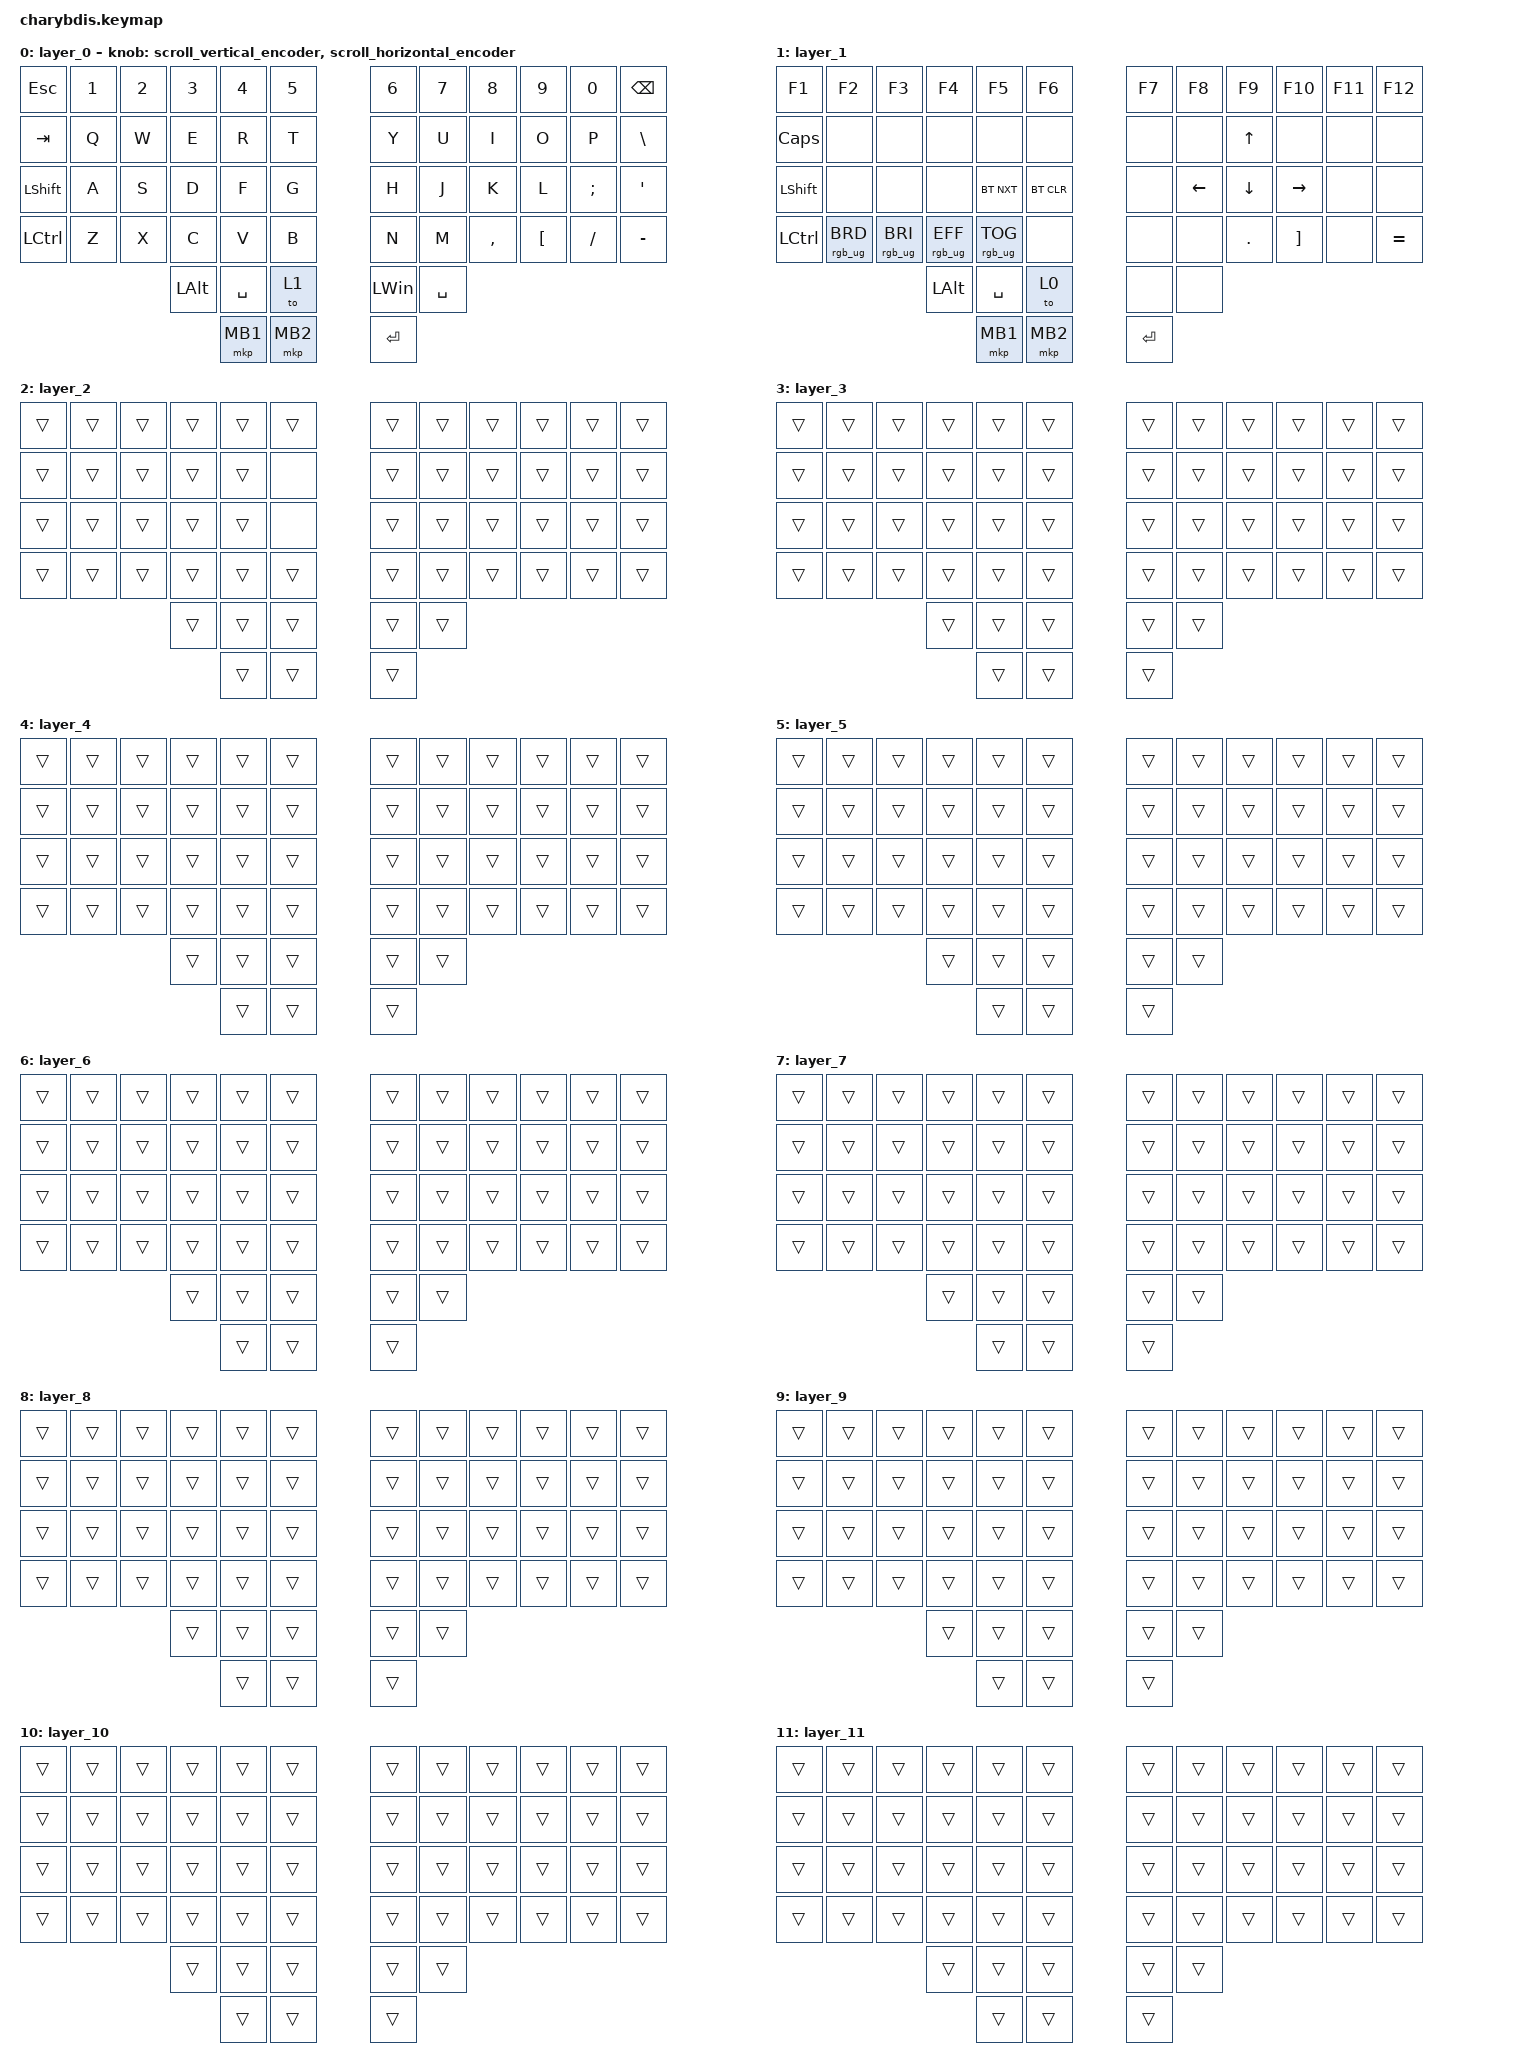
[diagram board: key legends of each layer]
#include <dt-bindings/zmk/mouse.h>
#include <input/processors.dtsi>
#include <zephyr/dt-bindings/input/input-event-codes.h>
#include <behaviors.dtsi>
#include <dt-bindings/zmk/bt.h>
#include <dt-bindings/zmk/keys.h>
#include <dt-bindings/zmk/pointing.h>
#include <dt-bindings/zmk/rgb.h>

#define ZMK_POINTING_DEFAULT_MOVE_VAL 1000 // 600
#define ZMK_POINTING_DEFAULT_SCRL_VAL 12   // 10

&lt {
    tapping-term-ms = <200>;
    flavor = "balanced";
    quick-tap-ms = <150>;
};

/ {
    // Whole-vector jump-curve acceleration (config/modules/input_processor_jump_accel).
    // Wired onto &trackball_listener below -- the REAL PMW3610 hardware listener --
    // not &mmv_input_listener (that's the virtual "hold a key to move the mouse"
    // behavior's listener, and &mmv isn't bound to any key in this keymap, so
    // anything attached there is inert dead code for actual trackball movement).
    // Runs on raw 400-CPI sensor deltas, so speed thresholds are in raw counts/sec.
    // base-factor 1000 = 1.0x (slow feel unchanged, stays at the raw 400 CPI baseline).
    // fast-factor 3000 = 3.0x, so a fast flick reaches ~1200 raw-equivalent CPI.
    // First real tuning pass on the correct listener -- expect a noticeable jump on
    // brisk movement; adjust jump-start-cps/jump-width-cps by feel from here.
    jump_accel: jump_accel {
        compatible = "zmk,input-processor-jump-accel";
        #input-processor-cells = <0>;
        base-factor = <1000>;
        fast-factor = <3000>;
        jump-start-cps = <1800>;
        jump-width-cps = <1200>;
        track-remainders;
    };

    // Scroll has its own smooth speed curve. Keep slow motion responsive at
    // 0.5x, then ramp to 4x on faster sweeps. The layer-specific scroller has
    // its own chain and applies the same curve before mapping motion to wheel events.
    scroll_accel: scroll_accel {
        compatible = "zmk,input-processor-jump-accel";
        #input-processor-cells = <0>;
        base-factor = <500>;
        fast-factor = <4000>;
        jump-start-cps = <500>;
        jump-width-cps = <1750>;
        track-remainders;
    };
};

// Pointer speed modes are KEY behaviors, never layer-linked CPI switching.
// The old PMW3610 snipe-layers mechanism (8x CPI jump while a layer was held)
// was removed together with the inorichi/DoctorWangWang driver.
//
// All modes run through zip_ball_mode (gggw zmk-input-processor-pipeline-
// switch), wired onto &trackball_listener in charybdis_right.overlay (which
// exists on the right/central half only, so these keys only have an effect
// when placed on right-half positions). The macros below select a pipeline
// deterministically; the hold variants press a mode and restore cursor on
// release (same macro pattern as the coach layer holds). persist=0 for the
// hold transitions (no flash writes), persist=1 for the explicit set keys.
// Behavior node names must stay <= 8 chars (split relay truncation).
//
// These behaviors are intentionally NOT bound to any key in this keymap.
// They exist so ZMK Studio can assign them; the optimizer owns placement.

/ {
    zip_ball_mode: zip_ball_mode {
        compatible = "zmk,input-processor-pipeline-switch";
        #input-processor-cells = <0>;
        persistent;

        cursor { // index 0: identity
            input-processors = <&zip_xy_scaler 1 1>;
        };
        snipe { // index 1: 0.25x precision
            input-processors = <&zip_xy_scaler 1 4>;
        };
        fast { // index 2: 3x boost
            input-processors = <&zip_xy_scaler 3 1>;
        };
    };

    bmode: bmode {
        compatible = "zmk,behavior-pipeline-switch";
        #binding-cells = <2>;
        processor = <&zip_ball_mode>;
        display-name = "Ball Mode";
    };

    snp_hold: snp_hold {
        compatible = "zmk,behavior-macro";
        display-name = "Snipe Hold";
        #binding-cells = <0>;
        wait-ms = <5>;
        tap-ms = <5>;
        bindings =
            <&macro_press &bmode 1 0>,
            <&macro_pause_for_release>,
            <&macro_tap &bmode 0 0>;
    };

    fst_hold: fst_hold {
        compatible = "zmk,behavior-macro";
        display-name = "Fast Hold";
        #binding-cells = <0>;
        wait-ms = <5>;
        tap-ms = <5>;
        bindings =
            <&macro_press &bmode 2 0>,
            <&macro_pause_for_release>,
            <&macro_tap &bmode 0 0>;
    };

    snp_tog: snp_tog {
        compatible = "zmk,behavior-macro";
        display-name = "Snipe Mode";
        #binding-cells = <0>;
        wait-ms = <5>;
        tap-ms = <5>;
        bindings = <&macro_tap &bmode 1 1>;
    };

    nrm_tog: nrm_tog {
        compatible = "zmk,behavior-macro";
        display-name = "Normal Mode";
        #binding-cells = <0>;
        wait-ms = <5>;
        tap-ms = <5>;
        bindings = <&macro_tap &bmode 0 1>;
    };

    fst_tog: fst_tog {
        compatible = "zmk,behavior-macro";
        display-name = "Fast Mode";
        #binding-cells = <0>;
        wait-ms = <5>;
        tap-ms = <5>;
        bindings = <&macro_tap &bmode 2 1>;
    };
};

// zip_xy_scaler here only affects the (currently unused) &mmv "move mouse via
// key hold" virtual behavior below -- unrelated to the physical trackball.
&mmv_input_listener { input-processors = <&zip_xy_scaler 1 5>; };

&msc_input_listener { input-processors = <&zip_scroll_scaler 2 1>; };

&msc {
    acceleration-exponent = <0>;      // 0
    time-to-max-speed-ms = <100>;       // 300
    delay-ms = <0>;                   // 0
};

&mmv {
    time-to-max-speed-ms = <500>;
    acceleration-exponent = <1>;
    trigger-period-ms = <16>;
};

/ {
    #include "coach_beacon_macros.keymap.dtsi"

    // 上下滚动编码器行为

    scroll_vertical_encoder: scroll_vertical_encoder {
        compatible = "zmk,behavior-sensor-rotate";
        #sensor-binding-cells = <0>;
        bindings = <&msc SCRL_DOWN>, <&msc SCRL_UP>;

        tap-ms = <100>;
    };

    // 左右滚动编码器行为

    scroll_horizontal_encoder: scroll_horizontal_encoder {
        compatible = "zmk,behavior-sensor-rotate";
        #sensor-binding-cells = <0>;
        bindings = <&msc SCRL_LEFT>, <&msc SCRL_RIGHT>;

        tap-ms = <100>;
    };

    behaviors {
    };

    macros {
        To1_macro: To1_macro {
            compatible = "zmk,behavior-macro";
            label = "To1_macro";
            #binding-cells = <0>;
            bindings = <&rgb_ug RGB_EFF &rgb_ug RGB_COLOR_HSB(128,100,50) &to 1>;
        };

        To1_macro_A: To1_macro_A {
            compatible = "zmk,behavior-macro";
            label = "To1_macro_A";
            #binding-cells = <0>;
            bindings = <&rgb_ug RGB_COLOR_HSB(128,100,50) &to 1>;
        };

        To0_macro: To0_macro {
            compatible = "zmk,behavior-macro";
            label = "To0_macro";
            #binding-cells = <0>;
            bindings = <&rgb_ug RGB_EFR &to 0>;
        };

        To2_macro_A: To2_macro_A {
            compatible = "zmk,behavior-macro";
            label = "To2_macro_A";
            #binding-cells = <0>;
            bindings = <&rgb_ug RGB_COLOR_HSB(250,100,50) &to 2>;
        };

        To2_macro: To2_macro {
            compatible = "zmk,behavior-macro";
            label = "To2_macro";
            #binding-cells = <0>;
            bindings = <&rgb_ug RGB_EFF &rgb_ug RGB_COLOR_HSB(250,100,50) &to 2>;
        };
    };

    keymap {
        compatible = "zmk,keymap";

        layer_0 {
            bindings = <
&kp ESC         &kp N1  &kp N2  &kp N3        &kp N4     &kp N5      &kp N6     &kp N7     &kp N8     &kp N9            &kp N0    &kp BACKSPACE
&kp TAB         &kp Q   &kp W   &kp E         &kp R      &kp T       &kp Y      &kp U      &kp I      &kp O             &kp P     &kp BSLH
&kp LEFT_SHIFT  &kp A   &kp S   &kp D         &kp F      &kp G       &kp H      &kp J      &kp K      &kp L             &kp SEMI  &kp SQT
&kp LCTRL       &kp Z   &kp X   &kp C         &kp V      &kp B       &kp N      &kp M      &kp COMMA  &kp LEFT_BRACKET  &kp FSLH  &kp MINUS
                                &kp LEFT_ALT  &kp SPACE  &to 1       &kp LWIN   &kp SPACE
                                              &mkp MB1   &mkp MB2    &kp ENTER
            >;

            sensor-bindings =
                <&scroll_vertical_encoder>,
                // 编码器1：上下滚动,,
                <&scroll_horizontal_encoder>;

            // 编码器2：左右滚动
        };

        layer_1 {
            bindings = <
&kp F1          &kp F2           &kp F3           &kp F4           &kp F5           &kp F6        &kp F7     &kp F8    &kp F9      &kp F10            &kp F11  &kp F12
&kp CAPS        &none            &none            &none            &none            &none         &none      &none     &kp UP      &none              &none    &none
&kp LEFT_SHIFT  &none            &none            &none            &bt BT_NXT       &bt BT_CLR    &none      &kp LEFT  &kp DOWN    &kp RIGHT          &none    &none
&kp LCTRL       &rgb_ug RGB_BRD  &rgb_ug RGB_BRI  &rgb_ug RGB_EFF  &rgb_ug RGB_TOG  &none         &none      &none     &kp PERIOD  &kp RIGHT_BRACKET  &none    &kp EQUAL
                                                  &kp LEFT_ALT     &kp SPACE        &to 0         &none      &none
                                                                   &mkp MB1         &mkp MB2      &kp ENTER
            >;
        };

        layer_2 {
            bindings = <
&trans  &trans  &trans  &trans  &trans  &trans    &trans  &trans  &trans  &trans  &trans  &trans
&trans  &trans  &trans  &trans  &trans  &none     &trans  &trans  &trans  &trans  &trans  &trans
&trans  &trans  &trans  &trans  &trans  &none     &trans  &trans  &trans  &trans  &trans  &trans
&trans  &trans  &trans  &trans  &trans  &trans    &trans  &trans  &trans  &trans  &trans  &trans
                        &trans  &trans  &trans    &trans  &trans
                                &trans  &trans    &trans
            >;
        };

        layer_3 {
            bindings = <
&trans  &trans  &trans  &trans  &trans  &trans    &trans  &trans  &trans  &trans  &trans  &trans
&trans  &trans  &trans  &trans  &trans  &trans    &trans  &trans  &trans  &trans  &trans  &trans
&trans  &trans  &trans  &trans  &trans  &trans    &trans  &trans  &trans  &trans  &trans  &trans
&trans  &trans  &trans  &trans  &trans  &trans    &trans  &trans  &trans  &trans  &trans  &trans
                        &trans  &trans  &trans    &trans  &trans
                                &trans  &trans    &trans
            >;
        };

        layer_4 {
            bindings = <
&trans  &trans  &trans  &trans  &trans  &trans    &trans  &trans  &trans  &trans  &trans  &trans
&trans  &trans  &trans  &trans  &trans  &trans    &trans  &trans  &trans  &trans  &trans  &trans
&trans  &trans  &trans  &trans  &trans  &trans    &trans  &trans  &trans  &trans  &trans  &trans
&trans  &trans  &trans  &trans  &trans  &trans    &trans  &trans  &trans  &trans  &trans  &trans
                        &trans  &trans  &trans    &trans  &trans
                                &trans  &trans    &trans
            >;
        };

        layer_5 {
            bindings = <
&trans  &trans  &trans  &trans  &trans  &trans    &trans  &trans  &trans  &trans  &trans  &trans
&trans  &trans  &trans  &trans  &trans  &trans    &trans  &trans  &trans  &trans  &trans  &trans
&trans  &trans  &trans  &trans  &trans  &trans    &trans  &trans  &trans  &trans  &trans  &trans
&trans  &trans  &trans  &trans  &trans  &trans    &trans  &trans  &trans  &trans  &trans  &trans
                        &trans  &trans  &trans    &trans  &trans
                                &trans  &trans    &trans
            >;
        };

        layer_6 {
            bindings = <
&trans  &trans  &trans  &trans  &trans  &trans    &trans  &trans  &trans  &trans  &trans  &trans
&trans  &trans  &trans  &trans  &trans  &trans    &trans  &trans  &trans  &trans  &trans  &trans
&trans  &trans  &trans  &trans  &trans  &trans    &trans  &trans  &trans  &trans  &trans  &trans
&trans  &trans  &trans  &trans  &trans  &trans    &trans  &trans  &trans  &trans  &trans  &trans
                        &trans  &trans  &trans    &trans  &trans
                                &trans  &trans    &trans
            >;
        };

        layer_7 {
            bindings = <
&trans  &trans  &trans  &trans  &trans  &trans    &trans  &trans  &trans  &trans  &trans  &trans
&trans  &trans  &trans  &trans  &trans  &trans    &trans  &trans  &trans  &trans  &trans  &trans
&trans  &trans  &trans  &trans  &trans  &trans    &trans  &trans  &trans  &trans  &trans  &trans
&trans  &trans  &trans  &trans  &trans  &trans    &trans  &trans  &trans  &trans  &trans  &trans
                        &trans  &trans  &trans    &trans  &trans
                                &trans  &trans    &trans
            >;
        };

        layer_8 {
            bindings = <
&trans  &trans  &trans  &trans  &trans  &trans    &trans  &trans  &trans  &trans  &trans  &trans
&trans  &trans  &trans  &trans  &trans  &trans    &trans  &trans  &trans  &trans  &trans  &trans
&trans  &trans  &trans  &trans  &trans  &trans    &trans  &trans  &trans  &trans  &trans  &trans
&trans  &trans  &trans  &trans  &trans  &trans    &trans  &trans  &trans  &trans  &trans  &trans
                        &trans  &trans  &trans    &trans  &trans
                                &trans  &trans    &trans
            >;
        };

        layer_9 {
            bindings = <
&trans  &trans  &trans  &trans  &trans  &trans    &trans  &trans  &trans  &trans  &trans  &trans
&trans  &trans  &trans  &trans  &trans  &trans    &trans  &trans  &trans  &trans  &trans  &trans
&trans  &trans  &trans  &trans  &trans  &trans    &trans  &trans  &trans  &trans  &trans  &trans
&trans  &trans  &trans  &trans  &trans  &trans    &trans  &trans  &trans  &trans  &trans  &trans
                        &trans  &trans  &trans    &trans  &trans
                                &trans  &trans    &trans
            >;
        };

        layer_10 {
            bindings = <
&trans  &trans  &trans  &trans  &trans  &trans    &trans  &trans  &trans  &trans  &trans  &trans
&trans  &trans  &trans  &trans  &trans  &trans    &trans  &trans  &trans  &trans  &trans  &trans
&trans  &trans  &trans  &trans  &trans  &trans    &trans  &trans  &trans  &trans  &trans  &trans
&trans  &trans  &trans  &trans  &trans  &trans    &trans  &trans  &trans  &trans  &trans  &trans
                        &trans  &trans  &trans    &trans  &trans
                                &trans  &trans    &trans
            >;
        };

        // L11: dedicated scroll mode layer — all transparent.
        // A layer-11-scoped child of trackball_listener in charybdis_right.overlay
        // converts ball motion to scroll whenever this layer is active. Every
        // @scroll:LX:hold key exports as &mo 11, which stacks L11 on top of the
        // current layer without displacing it (L11 is fully transparent so LX
        // bindings remain visible).
        layer_11 {
            bindings = <
&trans  &trans  &trans  &trans  &trans  &trans    &trans  &trans  &trans  &trans  &trans  &trans
&trans  &trans  &trans  &trans  &trans  &trans    &trans  &trans  &trans  &trans  &trans  &trans
&trans  &trans  &trans  &trans  &trans  &trans    &trans  &trans  &trans  &trans  &trans  &trans
&trans  &trans  &trans  &trans  &trans  &trans    &trans  &trans  &trans  &trans  &trans  &trans
                        &trans  &trans  &trans    &trans  &trans
                                &trans  &trans    &trans
            >;
        };

    };
};
